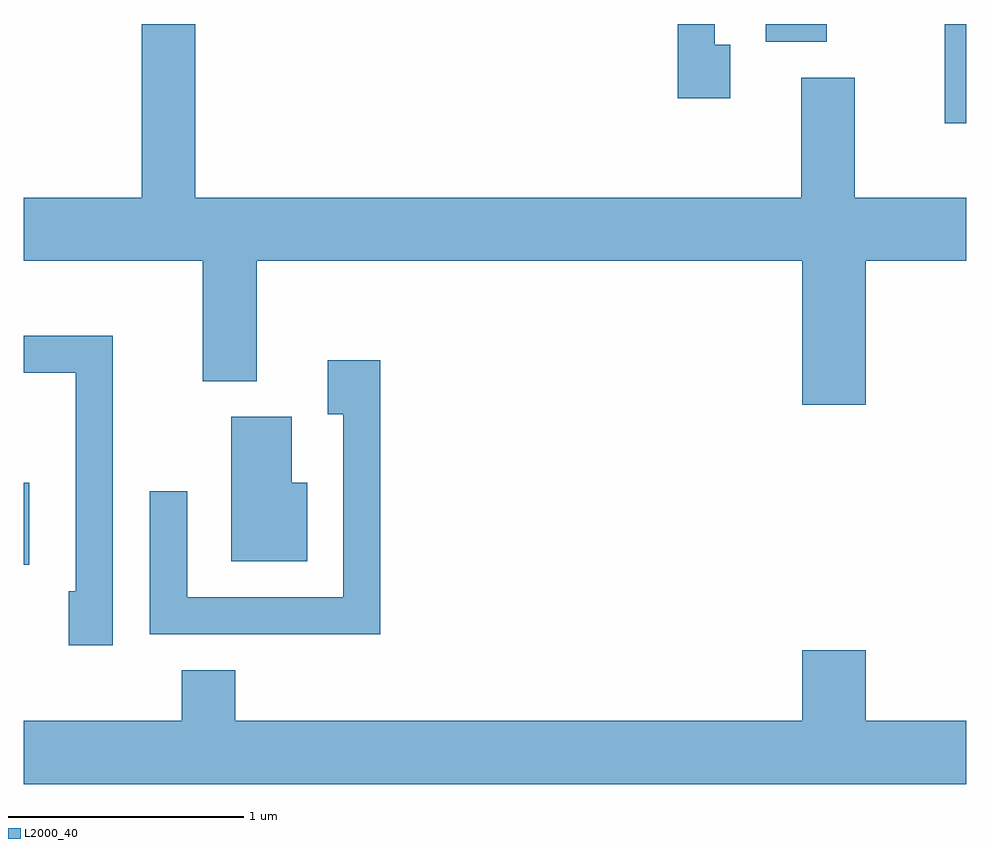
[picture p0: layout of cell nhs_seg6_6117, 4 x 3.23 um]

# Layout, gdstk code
import gdstk
lib = gdstk.Library(unit=1e-6, precision=1e-09)
def R(c, l, rs):  # rectangles x0, y0, x1, y1
    for r in rs: c.add(gdstk.rectangle(r[:2], r[2:], *l))
def P(c, l, *ps):  # polygons
    for p in ps: c.add(gdstk.Polygon(p, *l))
L2000_40 = (2000, 40)

nhs_seg6_6117 = lib.new_cell('nhs_seg6_6117')
R(nhs_seg6_6117, L2000_40, [(371.611,1539.866,371.634,1540.214), (375.521,1541.741,375.611,1542.162), (374.761,1542.086,375.019,1542.162)])
P(nhs_seg6_6117, L2000_40, [(375.184,1541.156),(375.611,1541.156),(375.611,1541.424),(375.139,1541.424),(375.139,1541.934),(374.911,1541.934),(374.911,1541.424),(372.339,1541.424),(372.339,1542.162),(372.111,1542.162),(372.111,1541.424),(371.611,1541.424),(371.611,1541.156),(372.371,1541.156),(372.371,1540.646),(372.599,1540.646),(372.599,1541.156),(374.916,1541.156),(374.916,1540.546),(375.184,1540.546)],
  [(374.609,1542.074),(374.544,1542.074),(374.544,1542.162),(374.386,1542.162),(374.386,1541.846),(374.609,1541.846)],
  [(371.989,1540.839),(371.611,1540.839),(371.611,1540.681),(371.831,1540.681),(371.831,1539.754),(371.801,1539.754),(371.801,1539.526),(371.989,1539.526)],
  [(373.124,1540.734),(372.901,1540.734),(372.901,1540.506),(372.966,1540.506),(372.966,1539.729),(372.304,1539.729),(372.304,1540.178),(372.146,1540.178),(372.146,1539.571),(373.124,1539.571)],
  [(372.814,1540.214),(372.749,1540.214),(372.749,1540.494),(372.491,1540.494),(372.491,1539.881),(372.814,1539.881)],
  [(375.611,1539.204),(375.184,1539.204),(375.184,1539.504),(374.916,1539.504),(374.916,1539.204),(372.509,1539.204),(372.509,1539.419),(372.281,1539.419),(372.281,1539.204),(371.611,1539.204),(371.611,1538.936),(375.611,1538.936)])

lib.write_gds('nhs_seg6_6117.gds')
